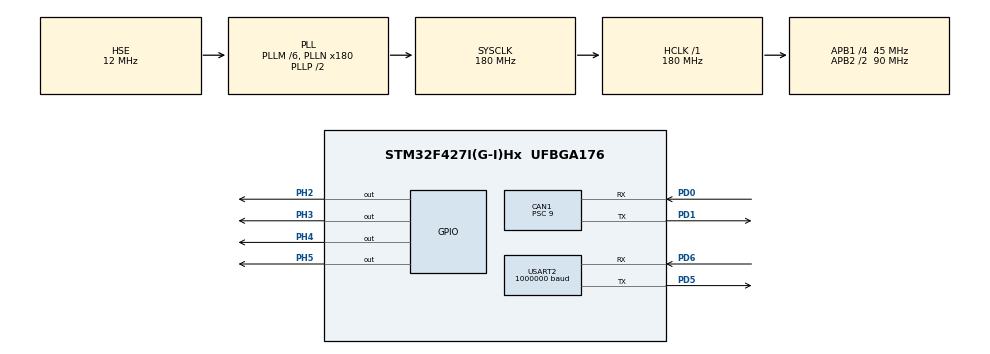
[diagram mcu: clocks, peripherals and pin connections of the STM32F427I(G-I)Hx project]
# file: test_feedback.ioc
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CAN1.ABOM=ENABLE
CAN1.BS1=CAN_BS1_2TQ
CAN1.BS2=CAN_BS2_2TQ
CAN1.CalculateBaudRate=1000000
CAN1.CalculateTimeBit=1000
CAN1.CalculateTimeQuantum=200.0
CAN1.Prescaler=9
Dma.Request0=USART2_RX
Dma.Request1=USART2_TX
Dma.USART2_RX.0.Direction=DMA_PERIPH_TO_MEMORY
Dma.USART2_RX.0.FIFOMode=DMA_FIFOMODE_DISABLE
Dma.USART2_RX.0.Instance=DMA1_Stream5
Dma.USART2_RX.0.MemDataAlignment=DMA_MDATAALIGN_BYTE
Dma.USART2_RX.0.MemInc=DMA_MINC_ENABLE
Dma.USART2_RX.0.Mode=DMA_NORMAL
Dma.USART2_RX.0.PeriphDataAlignment=DMA_PDATAALIGN_BYTE
Dma.USART2_RX.0.PeriphInc=DMA_PINC_DISABLE
Dma.USART2_RX.0.Priority=DMA_PRIORITY_LOW
Dma.USART2_TX.1.Direction=DMA_MEMORY_TO_PERIPH
Dma.USART2_TX.1.FIFOMode=DMA_FIFOMODE_DISABLE
Dma.USART2_TX.1.Instance=DMA1_Stream6
Dma.USART2_TX.1.MemDataAlignment=DMA_MDATAALIGN_BYTE
Dma.USART2_TX.1.MemInc=DMA_MINC_ENABLE
Dma.USART2_TX.1.Mode=DMA_NORMAL
Dma.USART2_TX.1.PeriphDataAlignment=DMA_PDATAALIGN_BYTE
Dma.USART2_TX.1.PeriphInc=DMA_PINC_DISABLE
Dma.USART2_TX.1.Priority=DMA_PRIORITY_LOW
Mcu.Family=STM32F4
Mcu.Name=STM32F427I(G-I)Hx
Mcu.Package=UFBGA176
NVIC.CAN1_RX0_IRQn=true\:0\:0\:false\:false\:true\:true\:true\:true
NVIC.CAN1_RX1_IRQn=true\:0\:0\:false\:false\:true\:true\:true\:true
NVIC.DMA1_Stream5_IRQn=true\:0\:0\:false\:false\:true\:false\:true\:true
NVIC.DMA1_Stream6_IRQn=true\:0\:0\:false\:false\:true\:false\:true\:true
NVIC.PriorityGroup=NVIC_PRIORITYGROUP_4
NVIC.USART2_IRQn=true\:0\:0\:false\:false\:true\:true\:true\:true
PA13.Mode=Serial_Wire
PA13.Signal=SYS_JTMS-SWDIO
PA14.Mode=Serial_Wire
PA14.Signal=SYS_JTCK-SWCLK
PD0.Mode=CAN_Activate
PD0.Signal=CAN1_RX
PD1.Mode=CAN_Activate
PD1.Signal=CAN1_TX
PD5.Mode=Asynchronous
PD5.Signal=USART2_TX
PD6.Mode=Asynchronous
PD6.Signal=USART2_RX
PH0/OSC_IN.Mode=HSE-External-Oscillator
PH0/OSC_IN.Signal=RCC_OSC_IN
PH1/OSC_OUT.Mode=HSE-External-Oscillator
PH1/OSC_OUT.Signal=RCC_OSC_OUT
PH2.GPIO_PuPd=GPIO_PULLDOWN
PH2.Signal=GPIO_Output
PH3.GPIO_PuPd=GPIO_PULLDOWN
PH3.Signal=GPIO_Output
PH4.GPIO_PuPd=GPIO_PULLDOWN
PH4.Signal=GPIO_Output
PH5.GPIO_PuPd=GPIO_PULLDOWN
PH5.Signal=GPIO_Output
ProjectManager.HeapSize=0x200
ProjectManager.StackSize=0x400
ProjectManager.TargetToolchain=MDK-ARM V5.32
RCC.48MHZClocksFreq_Value=90000000
RCC.AHBFreq_Value=180000000
RCC.APB1CLKDivider=RCC_HCLK_DIV4
RCC.APB1Freq_Value=45000000
RCC.APB1TimFreq_Value=90000000
RCC.APB2CLKDivider=RCC_HCLK_DIV2
RCC.APB2Freq_Value=90000000
RCC.APB2TimFreq_Value=180000000
RCC.CortexFreq_Value=180000000
RCC.HCLKFreq_Value=180000000
RCC.HSE_VALUE=12000000
RCC.HSI_VALUE=16000000
RCC.LSE_VALUE=32768
RCC.PLLM=6
RCC.PLLN=180
RCC.PLLSourceVirtual=RCC_PLLSOURCE_HSE
RCC.SYSCLKFreq_VALUE=180000000
RCC.SYSCLKSource=RCC_SYSCLKSOURCE_PLLCLK
RCC.VCOOutputFreq_Value=360000000
USART2.BaudRate=1000000
USART2.VirtualMode=VM_ASYNC
board=custom

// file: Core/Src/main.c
/* USER CODE BEGIN Header */
/**
 ******************************************************************************
 * @file           : main.c
 * @brief          : Main program body
 ******************************************************************************
 * @attention
 *
 * Copyright (c) 2023 STMicroelectronics.
 * All rights reserved.
 *
 * This software is licensed under terms that can be found in the LICENSE file
 * in the root directory of this software component.
 * If no LICENSE file comes with this software, it is provided AS-IS.
 *
 ******************************************************************************
 */
/* USER CODE END Header */
#include "main.h"
#include "can.h"
#include "dma.h"
#include "usart.h"
#include "gpio.h"

/* USER CODE BEGIN Includes */

#include "drv_bsp.h"

#include "dvc_serialplot.h"
#include "dvc_motor.h"
#include "dvc_motor_dm.h"

/* USER CODE END Includes */

/* USER CODE BEGIN PV */

Class_Serialplot serialplot;
Class_Motor_DM_1_To_4 motor_j4310;
// Class_Motor_C620 motor_3508;
// Class_Motor_GM6020 motor_6020;

// float Target_Angle_3508, Now_Angle_3508, Target_Omega_3508, Now_Omega_3508;
// float Target_Angle_6020, Now_Angle_6020, Target_Omega_6020, Now_Omega_6020, Target_Current_6020, Now_Current_6020;

uint32_t Counter = 0;

static char Variable_Assignment_List[][SERIALPLOT_RX_VARIABLE_ASSIGNMENT_MAX_LENGTH] = {
    //电机调PID
    "po",
    "io",
    "do",
    "fo",
};

/* USER CODE END PV */

void SystemClock_Config(void);

/* USER CODE BEGIN 0 */

/**
 * @brief CAN报文回调函数
 *
 * @param Rx_Buffer CAN接收的信息结构体
 */
void CAN_Motor_Call_Back(Struct_CAN_Rx_Buffer *Rx_Buffer)
{
    switch (Rx_Buffer->Header.StdId)
    {
        // case (0x201):
        // {
        //     motor_3508.CAN_RxCpltCallback(Rx_Buffer->Data);
        // }
        // break;
        // case (0x205):
        // {
        //     motor_6020.CAN_RxCpltCallback(Rx_Buffer->Data);
        // }
        // break;
        case (0x301):
        {
            motor_j4310.CAN_RxCpltCallback(Rx_Buffer->Data);
        }
    }
}

/**
 * @brief HAL库UART接收DMA空闲中断
 *
 * @param huart UART编号
 * @param Size 长度
 */
void UART_Serialplot_Call_Back(uint8_t *Buffer, uint16_t Length)
{
    serialplot.UART_RxCpltCallback(Buffer);
    switch (serialplot.Get_Variable_Index())
    {
        // 电机调PID
        // case(0):
        // {
        //     motor_3508.PID_Omega.Set_K_P(serialplot.Get_Variable_Value());
        // }
        // break;
        // case(1):
        // {
        //     motor_3508.PID_Omega.Set_K_I(serialplot.Get_Variable_Value());
        // }
        // break;
        // case(2):
        // {
        //     motor_3508.PID_Omega.Set_K_D(serialplot.Get_Variable_Value());
        // }
        // break;
        // case(3):
        // {
        //     motor_3508.PID_Omega.Set_K_F(serialplot.Get_Variable_Value());
        // }
        // break;
    }
}

/* USER CODE END 0 */

int main(void)
{

  /* MCU Configuration--------------------------------------------------------*/

  /* Reset of all peripherals, Initializes the Flash interface and the Systick. */
  HAL_Init();

  /* Configure the system clock */
  SystemClock_Config();

  /* Initialize all configured peripherals */
  MX_GPIO_Init();
  MX_DMA_Init();
  MX_CAN1_Init();
  MX_USART2_UART_Init();
  /* USER CODE BEGIN 2 */

    BSP_Init(BSP_DC24_LU_ON | BSP_DC24_LD_ON | BSP_DC24_RU_ON | BSP_DC24_RD_ON);
    CAN_Init(&hcan1, CAN_Motor_Call_Back);
    UART_Init(&huart2, UART_Serialplot_Call_Back, SERIALPLOT_RX_VARIABLE_ASSIGNMENT_MAX_LENGTH);

    serialplot.Init(&huart2, 6, (char **)Variable_Assignment_List);

    // motor_3508.PID_Omega.Init(1200.0f, 3000.0f, 0.0f, 0.0f, 2500.0f, 2500.0f);
    // motor_3508.Init(&hcan1, CAN_Motor_ID_0x201, Control_Method_OMEGA);

    // motor_6020.PID_Torque.Init(0.8f, 100.0f, 0.0f, 0.0f, 30000.0f, 30000.0f);
    // motor_6020.PID_Omega.Init(500.0f, 2000.0f, 0.0f, 0.0f, 1000.0f, 1000.0f);
    // motor_6020.PID_Angle.Init(12.0f, 0.0f, 0.0f, 0.0f, 4.0f * PI, 4.0f * PI);
    // motor_6020.Init(&hcan1, CAN_Motor_ID_0x205, Control_Method_ANGLE);

    motor_j4310.PID_Angle.Init(12.0f, 0.0f, 0.0f, 0.0f, 7.0f * PI, 7.0f * PI);
    motor_j4310.PID_Omega.Init(0.25f, 0.4f, 0.0f, 0.0f, 5.5f, 5.5f);
    motor_j4310.Init(&hcan1, Motor_DM_ID_0x301, Motor_DM_Control_Method_1_TO_4_ANGLE);

  /* USER CODE END 2 */

  /* Infinite loop */
  /* USER CODE BEGIN WHILE */
    while (1)
    {
        Counter++;
        // motor_3508.Set_Target_Omega(5.0f * motor_6020.Get_Now_Angle());
        // motor_6020.Set_Target_Angle(0.0f);
        motor_j4310.Set_Target_Angle((Counter / 3000 % 2) == 0 ? 0.0f : PI);
        motor_j4310.TIM_1ms_Calculate_PeriodElapsedCallback();

        // 保持存活
        static uint32_t Counter_KeepAlive = 0;
        if (Counter_KeepAlive++ > 100)
        {
            Counter_KeepAlive = 0;

            motor_j4310.TIM_100ms_Alive_PeriodElapsedCallback();
        }

        // 串口绘图显示内容

        float target_angle = motor_j4310.Get_Target_Angle();
        float now_angle = motor_j4310.Get_Now_Angle();
        float target_omega = motor_j4310.Get_Target_Omega();
        float now_omega = motor_j4310.Get_Now_Omega();
        float target_current = motor_j4310.Get_Target_Current();
        float now_current = motor_j4310.Get_Now_Current();
        float temperature_mos = motor_j4310.Get_Now_MOS_Temperature();
        float temperature_rotor = motor_j4310.Get_Now_Rotor_Temperature();
        serialplot.Set_Data(8, &target_angle, &now_angle, &target_omega, &now_omega, &target_current, &now_current, &temperature_mos, &temperature_rotor);
        serialplot.TIM_Write_PeriodElapsedCallback();

        //输出数据到电机
        // motor_3508.TIM_PID_PeriodElapsedCallback();
        // motor_6020.TIM_PID_PeriodElapsedCallback();

        //通信设备回调数据
        TIM_CAN_PeriodElapsedCallback();
        TIM_UART_PeriodElapsedCallback();

        //延时1ms
        HAL_Delay(0);
    /* USER CODE END WHILE */

    }
}

void SystemClock_Config(void)
{
  RCC_OscInitTypeDef RCC_OscInitStruct = {0};
  RCC_ClkInitTypeDef RCC_ClkInitStruct = {0};

  /** Configure the main internal regulator output voltage
  */
  __HAL_RCC_PWR_CLK_ENABLE();
  __HAL_PWR_VOLTAGESCALING_CONFIG(PWR_REGULATOR_VOLTAGE_SCALE1);

  /** Initializes the RCC Oscillators according to the specified parameters
  * in the RCC_OscInitTypeDef structure.
  */
  RCC_OscInitStruct.OscillatorType = RCC_OSCILLATORTYPE_HSE;
  RCC_OscInitStruct.HSEState = RCC_HSE_ON;
  RCC_OscInitStruct.PLL.PLLState = RCC_PLL_ON;
  RCC_OscInitStruct.PLL.PLLSource = RCC_PLLSOURCE_HSE;
  RCC_OscInitStruct.PLL.PLLM = 6;
  RCC_OscInitStruct.PLL.PLLN = 180;
  RCC_OscInitStruct.PLL.PLLP = RCC_PLLP_DIV2;
  RCC_OscInitStruct.PLL.PLLQ = 4;
  if (HAL_RCC_OscConfig(&RCC_OscInitStruct) != HAL_OK)
  {
    Error_Handler();
  }

  /** Activate the Over-Drive mode
  */
  if (HAL_PWREx_EnableOverDrive() != HAL_OK)
  {
    Error_Handler();
  }

  /** Initializes the CPU, AHB and APB buses clocks
  */
  RCC_ClkInitStruct.ClockType = RCC_CLOCKTYPE_HCLK|RCC_CLOCKTYPE_SYSCLK
                              |RCC_CLOCKTYPE_PCLK1|RCC_CLOCKTYPE_PCLK2;
  RCC_ClkInitStruct.SYSCLKSource = RCC_SYSCLKSOURCE_PLLCLK;
  RCC_ClkInitStruct.AHBCLKDivider = RCC_SYSCLK_DIV1;
  RCC_ClkInitStruct.APB1CLKDivider = RCC_HCLK_DIV4;
  RCC_ClkInitStruct.APB2CLKDivider = RCC_HCLK_DIV2;

  if (HAL_RCC_ClockConfig(&RCC_ClkInitStruct, FLASH_LATENCY_5) != HAL_OK)
  {
    Error_Handler();
  }
}

void Error_Handler(void)
{
    __disable_irq();
    while (1)
    {
    }
}
